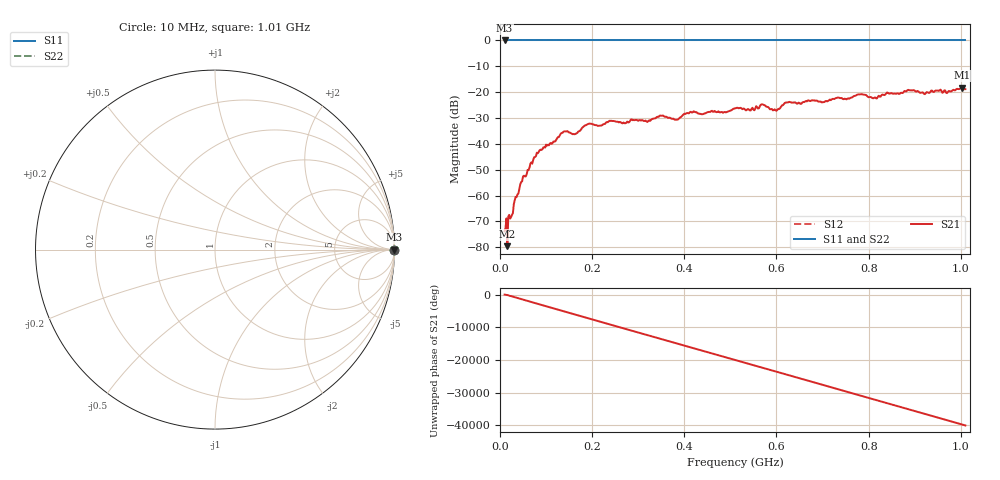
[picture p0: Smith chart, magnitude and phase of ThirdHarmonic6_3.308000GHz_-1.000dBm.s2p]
! 8/17/2025 10:20:00 AM
! C:\ANRITSUVNA\TEMP\TEMP.S2P
! CHANNEL.1
! TR.MEASUREMENT
! RAW.DATA
! RF.CORRECTION.OFF
! AVERAGING.OFF
! IF.BANDWIDTH: 5KHZ
! SWEEPTYPE:  FREQ.SWEEP(Linear)
! Reference Plane Port Info
! PORT:  PORT1  PORT2
! DISTANCE:  0  m  0  m
! TIME:  0  s  0  s
! PHASE.OFFSET:  0  deg.  0  deg.
! LOSS:  0  dB  0  dB
! REF.LOSS:  0  dB  0  dB
! REF.FREQ:  0  Hz  0  Hz
! Power Info
! POWER:  -20  dBm  -20  dBm
! EFF.POWER:  -20  dBm  -20  dBm
! SOURCE.ATTEN:  0  dB  0  dB
! TEST.ATTEN:  0  dB  0  dB
# GHZ S RI R 50.0
! FREQ.GHZ  S11RE  S11IM  S21RE  S21IM  S12RE  S12IM  S22RE  S22IM
!; PortSelection: Port_12
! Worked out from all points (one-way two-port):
!   501 points, 10 MHz to 1.01 GHz, reference 50 ohm
!   highest |S21| = -18.19 dB at 1.002 GHz (marker M1); lowest = -79.5 dB at 16 MHz (marker M2)
!   lowest |S11| = 0.0 dB at 10 MHz (marker M3)
!   |S11| at or under -10 dB: nowhere
!   |S22| runs from 0.0 to 0.0 dB; largest |S21 - S12| = 1.1
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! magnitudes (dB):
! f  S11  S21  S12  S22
! 10 MHz  0.0  -73.8  0.0  0.0
! 12 MHz  0.0  -72.5  0.0  0.0
! 16 MHz  0.0  -79.5  0.0  0.0
! 20 MHz  0.0  -67.4  0.0  0.0
! 48 MHz  0.0  -54.5  0.0  0.0
! 84 MHz  0.0  -43.1  0.0  0.0
! 136 MHz  0.0  -35.7  0.0  0.0
! 162 MHz  0.0  -36.3  0.0  0.0
! 178 MHz  0.0  -33.8  0.0  0.0
! 344 MHz  0.0  -29.6  0.0  0.0
! 382 MHz  0.0  -30.6  0.0  0.0
! 416 MHz  0.0  -27.9  0.0  0.0
! 510 MHz  0.0  -26.2  0.0  0.0
! 570 MHz  0.0  -24.7  0.0  0.0
! 596 MHz  0.0  -26.6  0.0  0.0
! 622 MHz  0.0  -24.0  0.0  0.0
! 678 MHz  0.0  -23.1  0.0  0.0
! 782 MHz  0.0  -20.8  0.0  0.0
! 814 MHz  0.0  -22.0  0.0  0.0
! 844 MHz  0.0  -20.5  0.0  0.0
! 1.002 GHz  0.0  -18.2  0.0  0.0
! 1.01 GHz  0.0  -18.8  0.0  0.0
